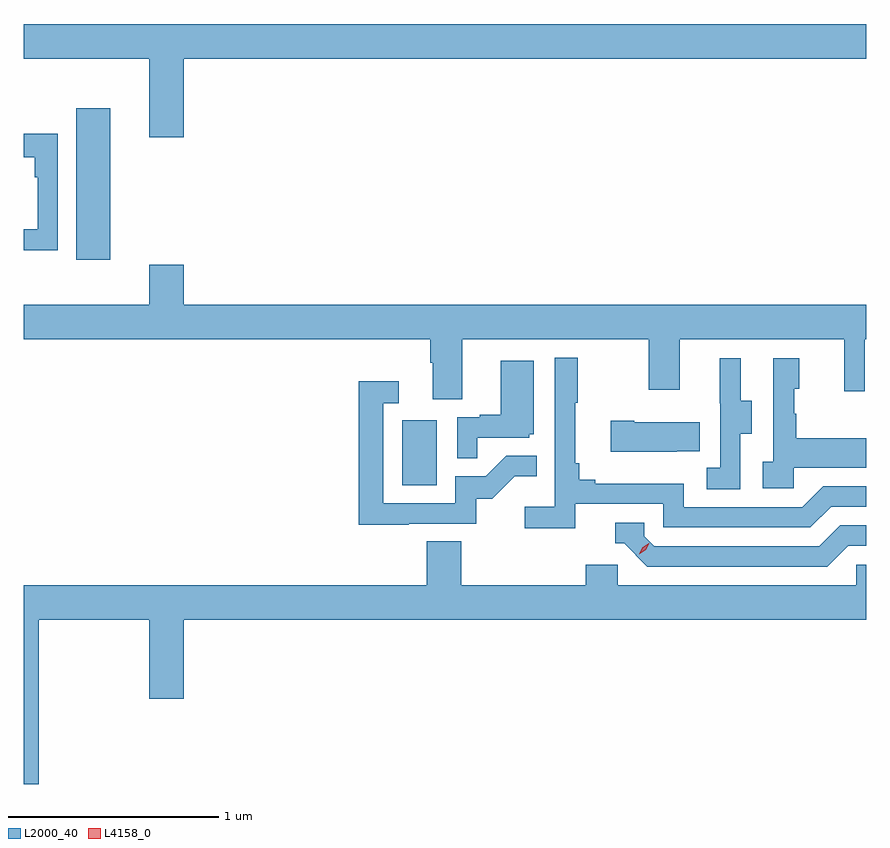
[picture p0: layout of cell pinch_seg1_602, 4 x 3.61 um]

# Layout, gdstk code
import gdstk
lib = gdstk.Library(unit=1e-6, precision=1e-09)
def R(c, l, rs):  # rectangles x0, y0, x1, y1
    for r in rs: c.add(gdstk.rectangle(r[:2], r[2:], *l))
def P(c, l, *ps):  # polygons
    for p in ps: c.add(gdstk.Polygon(p, *l))
L2000_40 = (2000, 40)
L4158_0 = (4158, 0)

pinch_seg1_602 = lib.new_cell('pinch_seg1_602')
R(pinch_seg1_602, L2000_40, [(1089.284,515.076,1089.448,515.383), (1087.739,516.144,1087.9,516.865)])
P(pinch_seg1_602, L2000_40, [(1088.248,517.1),(1091.488,517.1),(1091.488,517.264),(1087.488,517.264),(1087.488,517.1),(1088.084,517.1),(1088.084,516.726),(1088.248,516.726)],
  [(1087.65,516.742),(1087.488,516.742),(1087.488,516.632),(1087.541,516.632),(1087.541,516.536),(1087.554,516.536),(1087.554,516.291),(1087.488,516.291),(1087.488,516.19),(1087.65,516.19)],
  [(1089.571,515.768),(1090.456,515.768),(1090.456,515.529),(1090.603,515.529),(1090.603,515.768),(1091.384,515.768),(1091.384,515.52),(1091.481,515.52),(1091.481,515.768),(1091.488,515.768),(1091.488,515.932),(1088.248,515.932),(1088.248,516.121),(1088.084,516.121),(1088.084,515.932),(1087.488,515.932),(1087.488,515.768),(1089.419,515.768),(1089.419,515.656),(1089.431,515.656),(1089.431,515.482),(1089.571,515.482)],
  [(1090.106,514.986),(1090.524,514.986),(1090.524,514.875),(1091.221,514.875),(1091.32,514.974),(1091.488,514.974),(1091.488,515.07),(1091.283,515.07),(1091.184,514.971),(1090.62,514.971),(1090.62,515.083),(1090.201,515.083),(1090.201,515.102),(1090.124,515.102),(1090.124,515.179),(1090.105,515.179),(1090.105,515.467),(1090.117,515.467),(1090.117,515.68),(1090.008,515.68),(1090.008,514.972),(1089.867,514.972),(1089.867,514.87),(1090.106,514.87)],
  [(1091.142,515.159),(1091.488,515.159),(1091.488,515.299),(1091.155,515.299),(1091.155,515.414),(1091.145,515.414),(1091.145,515.532),(1091.17,515.532),(1091.17,515.677),(1091.046,515.677),(1091.046,515.186),(1090.995,515.186),(1090.995,515.061),(1091.142,515.061)],
  [(1090.89,515.32),(1090.945,515.32),(1090.945,515.475),(1090.891,515.475),(1090.891,515.677),(1090.793,515.677),(1090.793,515.463),(1090.794,515.463),(1090.794,515.159),(1090.731,515.159),(1090.731,515.056),(1090.89,515.056)],
  [(1089.641,515.301),(1089.888,515.301),(1089.888,515.316),(1089.91,515.316),(1089.91,515.665),(1089.752,515.665),(1089.752,515.41),(1089.653,515.41),(1089.653,515.397),(1089.546,515.397),(1089.546,515.203),(1089.641,515.203)],
  [(1089.317,514.893),(1089.636,514.893),(1089.636,515.01),(1089.712,515.01),(1089.819,515.117),(1089.923,515.117),(1089.923,515.216),(1089.779,515.216),(1089.681,515.118),(1089.537,515.118),(1089.537,514.989),(1089.195,514.989),(1089.195,515.463),(1089.268,515.463),(1089.268,515.569),(1089.079,515.569),(1089.079,514.888),(1089.317,514.888)],
  [(1090.589,515.237),(1090.697,515.237),(1090.697,515.374),(1090.387,515.374),(1090.387,515.382),(1090.275,515.382),(1090.275,515.234),(1090.589,515.234)],
  [(1091.401,514.788),(1091.488,514.788),(1091.488,514.884),(1091.364,514.884),(1091.265,514.785),(1090.482,514.785),(1090.434,514.833),(1090.434,514.896),(1090.295,514.896),(1090.295,514.8),(1090.338,514.8),(1090.449,514.689),(1091.302,514.689)],
  [(1087.559,514.436),(1088.084,514.436),(1088.084,514.062),(1088.248,514.062),(1088.248,514.436),(1091.488,514.436),(1091.488,514.698),(1091.439,514.698),(1091.439,514.6),(1090.308,514.6),(1090.308,514.698),(1090.157,514.698),(1090.157,514.6),(1089.566,514.6),(1089.566,514.808),(1089.401,514.808),(1089.401,514.6),(1087.488,514.6),(1087.488,513.657),(1087.559,513.657)])
P(pinch_seg1_602, L4158_0, [(1090.409,514.748),(1090.409,514.749),(1090.426,514.781),(1090.456,514.8),(1090.457,514.8),(1090.457,514.8),(1090.44,514.768),(1090.41,514.748)])

lib.write_gds('pinch_seg1_602.gds')
